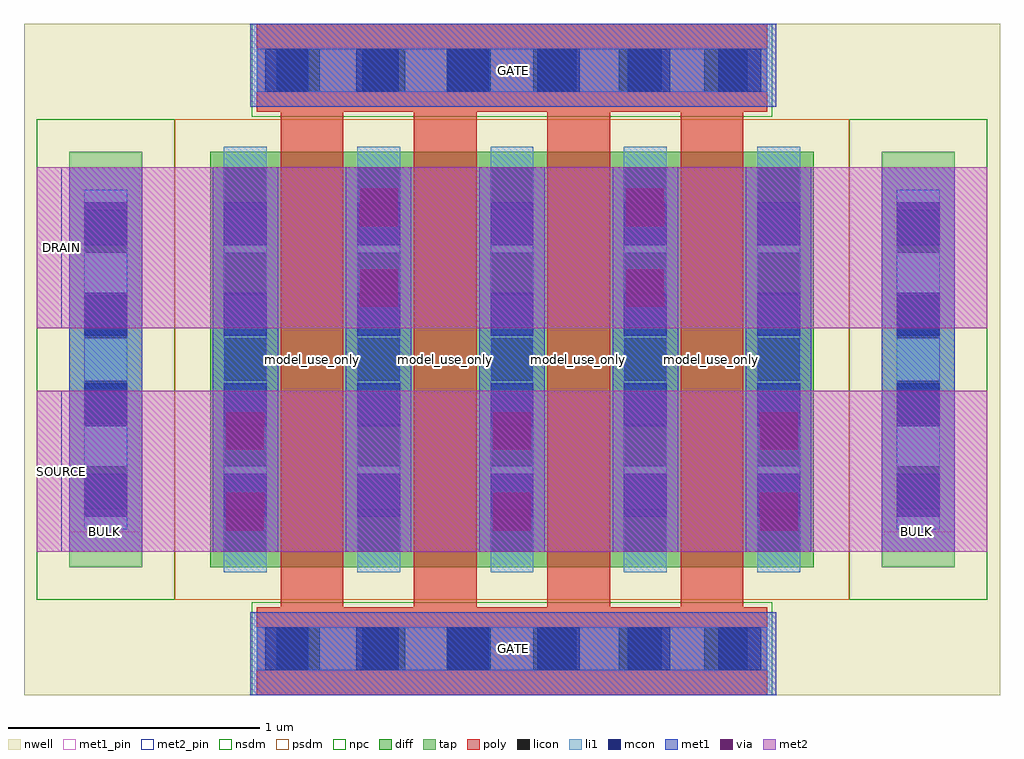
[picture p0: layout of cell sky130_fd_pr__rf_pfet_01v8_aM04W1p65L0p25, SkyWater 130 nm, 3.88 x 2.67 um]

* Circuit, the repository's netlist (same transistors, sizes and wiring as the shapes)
* Copyright 2020 The SkyWater PDK Authors
*
* Licensed under the Apache License, Version 2.0 (the "License");
* you may not use this file except in compliance with the License.
* You may obtain a copy of the License at
*
*     https://www.apache.org/licenses/LICENSE-2.0
*
* Unless required by applicable law or agreed to in writing, software
* distributed under the License is distributed on an "AS IS" BASIS,
* WITHOUT WARRANTIES OR CONDITIONS OF ANY KIND, either express or implied.
* See the License for the specific language governing permissions and
* limitations under the License.
*
* SPDX-License-Identifier: Apache-2.0


.subckt sky130_fd_pr__rf_pfet_01v8_aM04W1p65L0p25 BULK DRAIN GATE SOURCE
X0 SOURCE GATE DRAIN BULK sky130_fd_pr__pfet_01v8 w=1.65e+06u l=250000u
X1 SOURCE GATE DRAIN BULK sky130_fd_pr__pfet_01v8 w=1.65e+06u l=250000u
X2 DRAIN GATE SOURCE BULK sky130_fd_pr__pfet_01v8 w=1.65e+06u l=250000u
X3 DRAIN GATE SOURCE BULK sky130_fd_pr__pfet_01v8 w=1.65e+06u l=250000u
.ends

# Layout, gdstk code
import gdstk
lib = gdstk.Library(unit=1e-6, precision=1e-09)
def R(c, l, rs):  # rectangles x0, y0, x1, y1
    for r in rs: c.add(gdstk.rectangle(r[:2], r[2:], *l))
def A(c, l, x, y, w, h, nx, ny, dx, dy):  # array of equal rectangles
    R(c, l, [(x+i*dx, y+j*dy, x+i*dx+w, y+j*dy+h) for i in range(nx) for j in range(ny)])
nwell = (64, 20)
diff = (65, 20)
tap = (65, 44)
poly = (66, 20)
licon = (66, 44)
li1 = (67, 20)
mcon = (67, 44)
met1_pin = (68, 16)
met1 = (68, 20)
via = (68, 44)
met2_pin = (69, 16)
met2 = (69, 20)
nsdm = (93, 44)
psdm = (94, 20)
npc = (95, 20)

sky130_fd_pr__rf_pfet_01 = lib.new_cell('sky130_fd_pr__rf_pfet_01v8_aM04W1p65L0p25')
R(sky130_fd_pr__rf_pfet_01, nwell, [(0,0,3.88,2.67)])
R(sky130_fd_pr__rf_pfet_01, diff, [(0.74,0.51,3.14,2.16)])
R(sky130_fd_pr__rf_pfet_01, tap, [(0.18,0.51,0.47,2.16), (3.41,0.51,3.7,2.16)])
A(sky130_fd_pr__rf_pfet_01, poly, 1.02, 0.35, 0.25, 1.97, 4, 1, 0.53, 0)
R(sky130_fd_pr__rf_pfet_01, poly, [(0.925,0,2.955,0.35), (0.925,2.32,2.955,2.67)])
A(sky130_fd_pr__rf_pfet_01, licon, 1.005, 0.1, 0.17, 0.17, 6, 2, 0.34, 2.3)
A(sky130_fd_pr__rf_pfet_01, licon, 0.795, 0.57, 0.17, 0.17, 3, 1, 0.53, 0)
A(sky130_fd_pr__rf_pfet_01, licon, 1.855, 0.57, 0.17, 0.17, 3, 1, 0.53, 0)
A(sky130_fd_pr__rf_pfet_01, licon, 0.24, 0.74, 0.17, 0.17, 1, 4, 0, 0.34)
A(sky130_fd_pr__rf_pfet_01, licon, 3.47, 0.74, 0.17, 0.17, 1, 4, 0, 0.34)
A(sky130_fd_pr__rf_pfet_01, licon, 0.795, 0.91, 0.17, 0.17, 5, 4, 0.53, 0.34)
R(sky130_fd_pr__rf_pfet_01, licon, [(0.795,0.57,0.965,0.74), (2.915,0.57,3.085,0.74)])
A(sky130_fd_pr__rf_pfet_01, li1, 0.795, 0.49, 0.17, 1.69, 5, 1, 0.53, 0)
R(sky130_fd_pr__rf_pfet_01, li1, [(0.925,0.1,2.955,0.27), (0.96,0.1,2.93,0.27), (0.24,0.66,0.41,2.01), (3.47,0.66,3.64,2.01), (0.925,2.4,2.955,2.57), (0.96,2.4,2.93,2.57)])
A(sky130_fd_pr__rf_pfet_01, mcon, 0.96, 0.1, 0.17, 0.17, 6, 2, 0.36, 2.3)
A(sky130_fd_pr__rf_pfet_01, mcon, 0.24, 0.71, 0.17, 0.17, 1, 4, 0, 0.36)
A(sky130_fd_pr__rf_pfet_01, mcon, 0.795, 0.71, 0.17, 0.17, 5, 4, 0.53, 0.36)
A(sky130_fd_pr__rf_pfet_01, mcon, 3.47, 0.71, 0.17, 0.17, 1, 4, 0, 0.36)
R(sky130_fd_pr__rf_pfet_01, met1_pin, [(0.9,0,2.99,0.33), (0.18,0.57,0.47,0.65), (3.41,0.57,3.7,0.65), (0.9,2.34,2.99,2.67)])
A(sky130_fd_pr__rf_pfet_01, met1, 0.75, 0.57, 0.26, 1.53, 5, 1, 0.53, 0)
R(sky130_fd_pr__rf_pfet_01, met1, [(0.9,0,2.99,0.33), (0.18,0.57,0.47,2.1), (3.41,0.57,3.7,2.1), (0.9,2.34,2.99,2.67)])
A(sky130_fd_pr__rf_pfet_01, via, 0.805, 0.655, 0.15, 0.15, 3, 2, 1.06, 0.32)
R(sky130_fd_pr__rf_pfet_01, via, [(1.335,1.545,1.485,1.695), (2.395,1.545,2.545,1.695), (1.335,1.865,1.485,2.015), (2.395,1.865,2.545,2.015)])
R(sky130_fd_pr__rf_pfet_01, met2_pin, [(0.05,0.57,0.15,1.21), (0.05,1.46,0.15,2.1)])
R(sky130_fd_pr__rf_pfet_01, met2, [(0.05,0.57,3.83,1.21), (0.05,1.46,3.83,2.1)])
R(sky130_fd_pr__rf_pfet_01, nsdm, [(0.05,0.38,0.6,2.29), (3.28,0.38,3.83,2.29)])
R(sky130_fd_pr__rf_pfet_01, psdm, [(0.6,0.38,3.28,2.29)])
R(sky130_fd_pr__rf_pfet_01, npc, [(0.905,0,2.975,0.37), (0.905,2.3,2.975,2.67)])
sky130_fd_pr__rf_pfet_01.add(gdstk.Label('model_use_only', (1.145,1.335), layer=66, texttype=83))
sky130_fd_pr__rf_pfet_01.add(gdstk.Label('model_use_only', (1.675,1.335), layer=66, texttype=83))
sky130_fd_pr__rf_pfet_01.add(gdstk.Label('model_use_only', (2.205,1.335), layer=66, texttype=83))
sky130_fd_pr__rf_pfet_01.add(gdstk.Label('model_use_only', (2.735,1.335), layer=66, texttype=83))
sky130_fd_pr__rf_pfet_01.add(gdstk.Label('DRAIN', (0.15,1.78), layer=69, texttype=5))
sky130_fd_pr__rf_pfet_01.add(gdstk.Label('SOURCE', (0.15,0.89), layer=69, texttype=5))
sky130_fd_pr__rf_pfet_01.add(gdstk.Label('BULK', (0.32,0.65), layer=68, texttype=5))
sky130_fd_pr__rf_pfet_01.add(gdstk.Label('GATE', (1.945,2.485), layer=68, texttype=5))
sky130_fd_pr__rf_pfet_01.add(gdstk.Label('BULK', (3.55,0.65), layer=68, texttype=5))
sky130_fd_pr__rf_pfet_01.add(gdstk.Label('GATE', (1.945,0.185), layer=68, texttype=5))

lib.write_gds('sky130_fd_pr__rf_pfet_01v8_aM04W1p65L0p25.gds')
